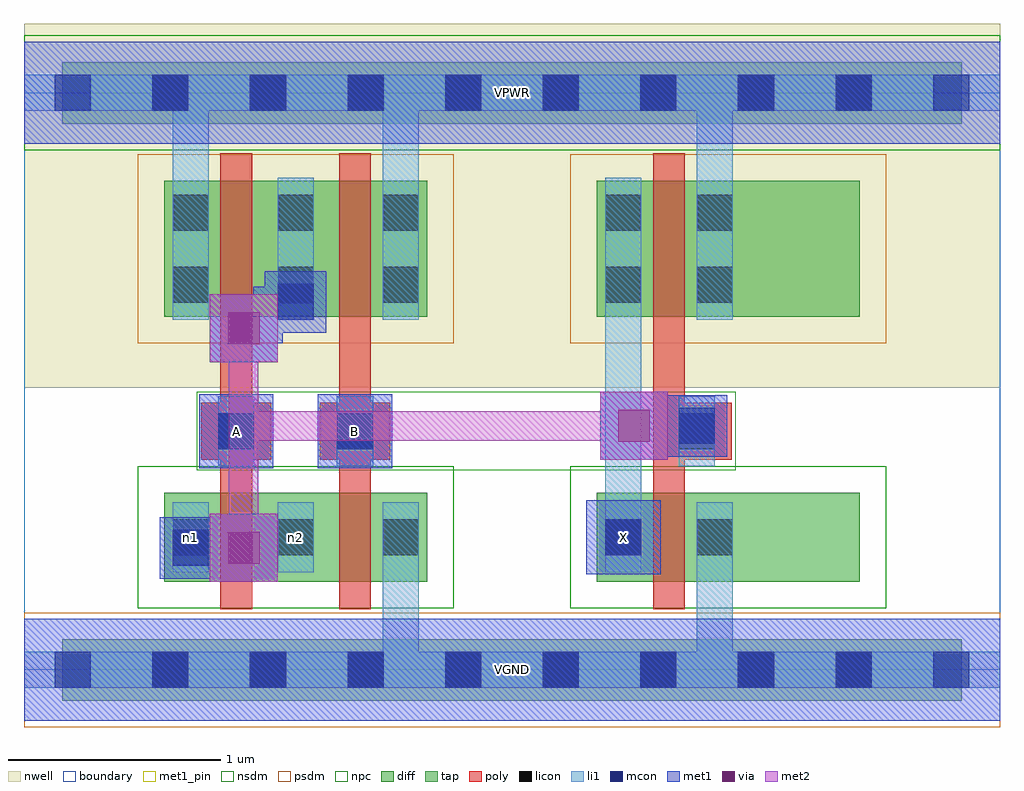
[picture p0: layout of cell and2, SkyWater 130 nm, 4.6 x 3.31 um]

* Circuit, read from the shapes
.subckt and2 A B VGND VPWR X n1 n2
XM1 n2 A n1 VGND sky130_fd_pr__nfet_01v8 w=0.42 l=0.15
XM2 VGND B n2 VGND sky130_fd_pr__nfet_01v8 w=0.42 l=0.15
XM3 VGND n1 X VGND sky130_fd_pr__nfet_01v8 w=0.42 l=0.15
XM4 n1 A VPWR VPWR sky130_fd_pr__pfet_01v8 w=0.64 l=0.15
XM5 VPWR B n1 VPWR sky130_fd_pr__pfet_01v8 w=0.64 l=0.15
XM6 VPWR n1 X VPWR sky130_fd_pr__pfet_01v8 w=0.64 l=0.15
.ends

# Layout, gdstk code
import gdstk
lib = gdstk.Library(unit=1e-6, precision=1e-09)
def R(c, l, rs):  # rectangles x0, y0, x1, y1
    for r in rs: c.add(gdstk.rectangle(r[:2], r[2:], *l))
def A(c, l, x, y, w, h, nx, ny, dx, dy):  # array of equal rectangles
    R(c, l, [(x+i*dx, y+j*dy, x+i*dx+w, y+j*dy+h) for i in range(nx) for j in range(ny)])
nwell = (64, 20)
diff = (65, 20)
tap = (65, 44)
poly = (66, 20)
licon = (66, 44)
li1 = (67, 20)
mcon = (67, 44)
met1_pin = (68, 16)
met1 = (68, 20)
via = (68, 44)
met2 = (69, 20)
nsdm = (93, 44)
psdm = (94, 20)
npc = (95, 20)
boundary = (235, 4)

and2 = lib.new_cell('and2')
R(and2, nwell, [(0,1.33,4.6,3.045)])
R(and2, diff, [(0.66,0.415,1.9,0.835), (2.7,0.415,3.94,0.835), (0.66,1.665,1.9,2.305), (2.7,1.665,3.94,2.305)])
R(and2, tap, [(0.18,-0.145,4.42,0.145), (0.18,2.575,4.42,2.865)])
R(and2, poly, [(0.925,0.285,1.075,2.435), (1.485,0.285,1.635,2.435), (2.965,0.285,3.115,2.435), (0.835,0.99,1.165,1.26), (1.395,0.99,1.725,1.26), (3.005,0.99,3.335,1.26)])
A(and2, licon, 0.605, -0.085, 0.17, 0.17, 8, 2, 0.46, 2.72)
A(and2, licon, 0.7, 0.54, 0.17, 0.17, 3, 2, 0.495, 1.19)
A(and2, licon, 0.7, 2.07, 0.17, 0.17, 3, 1, 0.495, 0)
R(and2, licon, [(2.74,0.54,2.91,0.71), (3.17,0.54,3.34,0.71), (0.915,1.04,1.085,1.21), (1.475,1.04,1.645,1.21), (3.085,1.04,3.255,1.21), (2.74,1.73,2.91,1.9), (3.17,1.73,3.34,1.9), (2.74,2.07,2.91,2.24), (3.17,2.07,3.34,2.24)])
A(and2, li1, 0.7, 0.46, 0.17, 0.33, 3, 1, 0.495, 0)
A(and2, li1, 0.7, 1.65, 0.17, 0.67, 3, 1, 0.495, 0)
R(and2, li1, [(0,-0.085,4.6,0.085), (1.69,-0.085,1.86,0.79), (3.17,-0.085,3.34,0.79), (2.74,0.46,2.91,0.79), (2.74,0.46,2.91,2.32), (3.17,0.46,3.34,0.79), (0.915,0.96,1.085,1.29), (1.475,0.96,1.645,1.29), (3.085,0.96,3.255,1.29), (0.7,1.65,0.87,2.805), (1.69,1.65,1.86,2.805), (2.74,1.65,2.91,2.32), (3.17,1.65,3.34,2.32), (3.17,1.65,3.34,2.805), (0,2.635,4.6,2.805)])
A(and2, mcon, 0.145, -0.085, 0.17, 0.17, 10, 2, 0.46, 2.72)
R(and2, mcon, [(0.7,0.49,0.87,0.66), (2.74,0.54,2.91,0.71), (0.915,1.04,1.085,1.21), (1.475,1.04,1.645,1.21), (3.085,1.065,3.255,1.235), (1.195,1.65,1.365,1.82)])
R(and2, met1_pin, [(0,-0.24,4.6,0.24), (2.65,0.45,3,0.8), (0.825,0.95,1.175,1.3), (1.385,0.95,1.735,1.3), (0,2.48,4.6,2.96)])
R(and2, met1, [(0,-0.24,4.6,0.24), (0.875,0.415,1.195,0.735), (0.64,0.43,0.93,0.72), (2.65,0.45,3,0.8), (0.715,0.505,0.99,0.645), (0.85,0.505,1.105,0.645), (0.825,0.95,1.175,1.3), (1.385,0.95,1.735,1.3), (2.715,0.99,3.035,1.31), (3.025,1.005,3.315,1.295), (2.805,1.08,3.06,1.22), (2.92,1.08,3.24,1.22), (0.875,1.45,1.195,1.77), (0.965,1.54,1.22,1.68), (1.08,1.54,1.22,1.805), (1.135,1.59,1.425,1.88), (1.08,1.665,1.35,1.805), (0,2.48,4.6,2.96)])
R(and2, via, [(0.96,0.5,1.11,0.65), (2.8,1.075,2.95,1.225), (0.96,1.535,1.11,1.685)])
R(and2, met2, [(0.875,0.415,1.195,0.735), (0.965,0.505,1.105,1.68), (2.715,0.99,3.035,1.31), (0.965,1.08,2.945,1.22), (0.875,1.45,1.195,1.77)])
R(and2, nsdm, [(0.535,0.29,2.025,0.96), (2.575,0.29,4.065,0.96), (0,2.45,4.6,2.99)])
R(and2, psdm, [(0,-0.27,4.6,0.27), (0.535,1.54,2.025,2.43), (2.575,1.54,4.065,2.43)])
R(and2, npc, [(0.815,0.94,3.355,1.31)])
R(and2, boundary, [(0,0,4.6,2.72)])
and2.add(gdstk.Label('n1', (0.785,0.625), layer=67, texttype=5))
and2.add(gdstk.Label('n2', (1.28,0.625), layer=67, texttype=5))
and2.add(gdstk.Label('A', (1,1.125), layer=68, texttype=5))
and2.add(gdstk.Label('B', (1.56,1.125), layer=68, texttype=5))
and2.add(gdstk.Label('X', (2.825,0.625), layer=68, texttype=5))
and2.add(gdstk.Label('VPWR', (2.3,2.72), layer=68, texttype=5))
and2.add(gdstk.Label('VGND', (2.3,0), layer=68, texttype=5))
and2.add(gdstk.Label('A', (1,1.125), layer=68, texttype=16))
and2.add(gdstk.Label('B', (1.56,1.125), layer=68, texttype=16))
and2.add(gdstk.Label('X', (2.825,0.625), layer=68, texttype=16))
and2.add(gdstk.Label('VPWR', (2.3,2.72), layer=68, texttype=16))
and2.add(gdstk.Label('VGND', (2.3,0), layer=68, texttype=16))

lib.write_gds('and2.gds')
